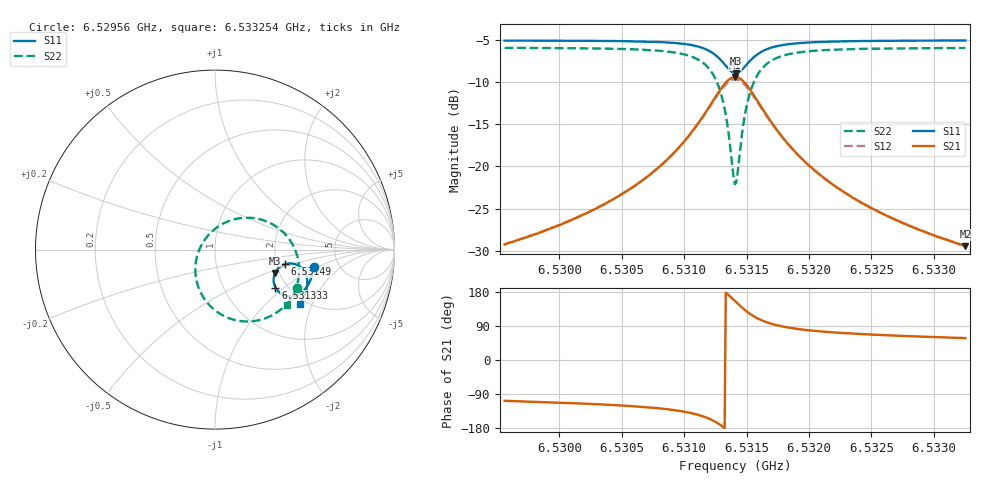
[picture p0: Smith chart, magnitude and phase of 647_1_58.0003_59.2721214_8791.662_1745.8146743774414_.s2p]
#  HZ  S  RI  R  50.00
! Rohde & Schwarz Vector Network Analyzer
! Rohde-Schwarz,ZNB20-2Port,1311601062101988,3.16
! Created: UTC 3/21/2024, 1:19:17 AM
! freq[Hz]  re:S11  im:S11  re:S21  im:S21  re:S12  im:S12  re:S22  im:S22
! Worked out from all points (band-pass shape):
!   401 points, 6.52956 GHz to 6.533254 GHz, reference 50 ohm
!   highest |S21| = -9.35 dB at 6.531407 GHz (marker M1); lowest = -29.5 dB at 6.533254 GHz (marker M2)
!   |S21| within 3 dB of the highest: 6.531224 GHz to 6.531593 GHz (369.1 kHz wide, 0.00565 % of centre)
!   lowest |S11| = -8.9 dB at 6.531416 GHz (marker M3), VSWR 2.12, Z = 94.8 - j28.3 ohm
!   |S11| at or under -10 dB: nowhere
!   |S22| runs from -22.1 to -5.9 dB; largest |S21 - S12| = 0.014
!   S11 on the Smith chart (normalised r, x): 6.52956 GHz: 3.26, -0.93; 6.531333 GHz: 1.74, -0.87; 6.53149 GHz: 2.21, -0.43; 6.533254 GHz: 1.84, -1.64
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6.5295604e9  0.5517 -0.0982  -0.0104 -0.0327  -0.0113 -0.0326  0.4594 -0.2158
6.5301791e9  0.5384 -0.1507  -0.0216 -0.0464  -0.0226 -0.046  0.4232 -0.2743
6.5305208e9  0.5254 -0.1836  -0.0357 -0.0602  -0.0372 -0.0592  0.3871 -0.3158
6.5307978e9  0.5062 -0.2151  -0.0603 -0.0787  -0.0627 -0.0767  0.3312 -0.3583
6.5310102e9  0.4759 -0.2435  -0.1051 -0.0981  -0.1081 -0.0941  0.2414 -0.3939
6.5311764e9  0.4232 -0.2608  -0.1871 -0.1004  -0.1889 -0.0921  0.0932 -0.3872
6.5312687e9  0.3729 -0.2482  -0.2645 -0.0623  -0.2618 -0.0508  -0.0326 -0.3079
6.5313056e9  0.3509 -0.2308  -0.2966 -0.026  -0.2904 -0.0145  -0.079 -0.2407
6.5313333e9  0.337 -0.2113  -0.3152 0.0116  -0.3063 0.0222  -0.1027 -0.1746
6.5313888e9  0.3269 -0.1581  -0.3212 0.1073  -0.3083 0.1126  -0.0939 -0.0167
6.5314072e9  0.3312 -0.1392  -0.3106 0.1402  -0.2971 0.1431  -0.0703 0.0346
6.5314165e9  0.3347 -0.1301  -0.3028 0.1558  -0.2894 0.1574  -0.0549 0.0585
6.5314349e9  0.3445 -0.1135  -0.2828 0.1839  -0.2705 0.1834  -0.0175 0.1005
6.5314534e9  0.3575 -0.0997  -0.2587 0.207  -0.2473 0.2046  0.026 0.1338
6.5314903e9  0.3876 -0.082  -0.2039 0.236  -0.1957 0.2316  0.1207 0.1717
6.531555e9  0.4377 -0.0788  -0.1165 0.2407  -0.1126 0.2364  0.267 0.1641
6.5316473e9  0.4823 -0.1023  -0.0409 0.2048  -0.0392 0.2023  0.3891 0.0874
6.5317858e9  0.5077 -0.1418  0.0036 0.1498  0.00484 0.1489  0.4541 -0.0216
6.5320259e9  0.514 -0.1893  0.0212 0.0952  0.0224 0.0948  0.4681 -0.1329
6.532266e9  0.5089 -0.221  0.0229 0.0678  0.024 0.0674  0.458 -0.1939
6.5326446e9  0.4959 -0.2581  0.0212 0.0455  0.0221 0.045  0.4361 -0.2518
6.533254e9  0.4715 -0.3055  0.0179 0.0284  0.0185 0.0283  0.4013 -0.3096
